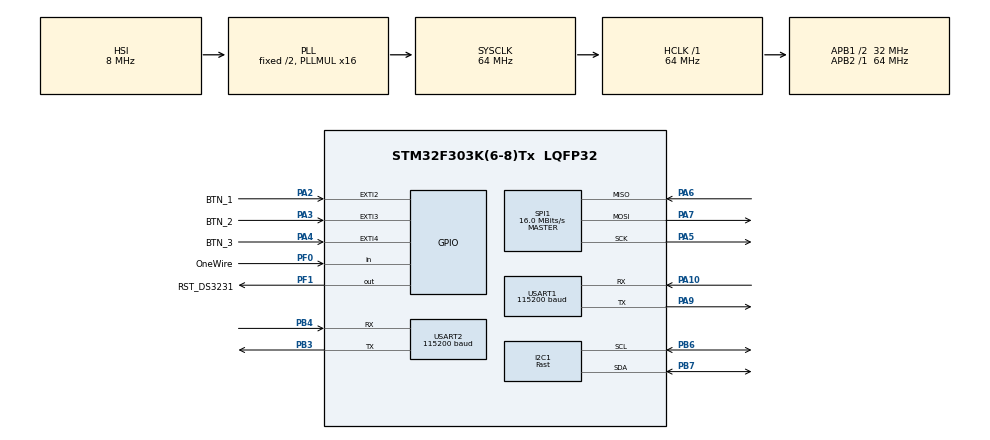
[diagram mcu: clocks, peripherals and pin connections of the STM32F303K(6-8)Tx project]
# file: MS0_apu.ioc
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I2C1.I2C_Speed_Mode=I2C_Fast
I2C1.Timing=0x0000020B
Mcu.Family=STM32F3
Mcu.Name=STM32F303K(6-8)Tx
Mcu.Package=LQFP32
NVIC.EXTI2_TSC_IRQn=true\:0\:0\:false\:false\:true\:true\:true
NVIC.EXTI3_IRQn=true\:0\:0\:false\:false\:true\:true\:true
NVIC.EXTI4_IRQn=true\:0\:0\:false\:false\:true\:true\:true
NVIC.PriorityGroup=NVIC_PRIORITYGROUP_4
NVIC.USART1_IRQn=true\:0\:0\:false\:false\:true\:true\:true
NVIC.USART2_IRQn=true\:0\:0\:false\:false\:true\:true\:true
PA10.Mode=Asynchronous
PA10.Signal=USART1_RX
PA13.GPIO_Label=SWDIO
PA13.Mode=Serial_Wire
PA13.Signal=SYS_JTMS-SWDIO
PA14.GPIO_Label=SWCLK
PA14.Mode=Serial_Wire
PA14.Signal=SYS_JTCK-SWCLK
PA2.GPIO_Label=BTN_1
PA2.GPIO_ModeDefaultEXTI=GPIO_MODE_IT_FALLING
PA2.GPIO_PuPd=GPIO_PULLDOWN
PA2.Signal=GPXTI2
PA3.GPIO_Label=BTN_2
PA3.GPIO_ModeDefaultEXTI=GPIO_MODE_IT_FALLING
PA3.GPIO_PuPd=GPIO_PULLDOWN
PA3.Signal=GPXTI3
PA4.GPIO_Label=BTN_3
PA4.GPIO_ModeDefaultEXTI=GPIO_MODE_IT_FALLING
PA4.GPIO_PuPd=GPIO_PULLDOWN
PA4.Signal=GPXTI4
PA5.Mode=Full_Duplex_Master
PA5.Signal=SPI1_SCK
PA6.Mode=Full_Duplex_Master
PA6.Signal=SPI1_MISO
PA7.Mode=Full_Duplex_Master
PA7.Signal=SPI1_MOSI
PA9.Mode=Asynchronous
PA9.Signal=USART1_TX
PB3.Mode=Asynchronous
PB3.Signal=USART2_TX
PB4.Mode=Asynchronous
PB4.Signal=USART2_RX
PB6.Mode=I2C
PB6.Signal=I2C1_SCL
PB7.Mode=I2C
PB7.Signal=I2C1_SDA
PF0\ /\ OSC_IN.GPIO_Label=OneWire
PF0\ /\ OSC_IN.Signal=GPIO_Input
PF1\ /\ OSC_OUT.GPIO_Label=RST_DS3231
PF1\ /\ OSC_OUT.PinState=GPIO_PIN_SET
PF1\ /\ OSC_OUT.Signal=GPIO_Output
ProjectManager.HeapSize=0x200
ProjectManager.StackSize=0x400
ProjectManager.TargetToolchain=STM32CubeIDE
RCC.AHBFreq_Value=64000000
RCC.APB1CLKDivider=RCC_HCLK_DIV2
RCC.APB1Freq_Value=32000000
RCC.APB1TimFreq_Value=64000000
RCC.APB2Freq_Value=64000000
RCC.APB2TimFreq_Value=64000000
RCC.CortexFreq_Value=64000000
RCC.HCLKFreq_Value=64000000
RCC.HSE_VALUE=8000000
RCC.HSI_VALUE=8000000
RCC.PLLMUL=RCC_PLL_MUL16
RCC.SYSCLKFreq_VALUE=64000000
RCC.SYSCLKSourceVirtual=RCC_SYSCLKSOURCE_PLLCLK
SPI1.BaudRatePrescaler=SPI_BAUDRATEPRESCALER_4
SPI1.CalculateBaudRate=16.0 MBits/s
SPI1.DataSize=SPI_DATASIZE_8BIT
SPI1.Direction=SPI_DIRECTION_2LINES
SPI1.Mode=SPI_MODE_MASTER
SPI1.VirtualType=VM_MASTER
TIM3.Period=65535-1
TIM3.Prescaler=64-1
USART1.BaudRate=115200
USART1.VirtualMode-Asynchronous=VM_ASYNC
USART2.BaudRate=115200
USART2.Mode=MODE_TX_RX
USART2.VirtualMode-Asynchronous=VM_ASYNC
VP_FATFS_VS_Generic.Mode=User_defined
VP_TIM3_VS_ClockSourceINT.Mode=Internal
board=NUCLEO-F303K8

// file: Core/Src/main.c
/* USER CODE BEGIN Header */
/** ************************************************************* *
 * @file        main.c
 * @brief
 *
 * @date        2021-04-26
 * @author     Quentin Bakrim (quentin.bakrim@hotmail.fr)
 *
 * Mines Space
 *
 * ************************************************************* **/
/* USER CODE END Header */
#include "main.h"
#include "fatfs.h"
#include "i2c.h"
#include "spi.h"
#include "tim.h"
#include "usart.h"
#include "gpio.h"

/* USER CODE BEGIN Includes */
#include "ds3231.h"
#include "mpu6050.h"
#include "bmp280.h"
#include "ssd1306.h"
#include "tca6408a.h"

#include "hmi.h"

#include "ds18b20.h"
#include "delay.h"

#include "synchro.h"

#include "broadcast.h"

#include "fatfs_sd.h"

#include "stdio.h"
/* USER CODE END Includes */

/* USER CODE BEGIN PV */
HMI_FrameSelector_t Frame;

DS3231_t TIME;
BMP280_t PRESS;
MPU6050_t ANGLE;
DS18B20_t TEMP;

FATFS FatFs; 	    //Fatfs handle
FIL fil; 		    //File handle
FRESULT fres;       //Result after operations

uint8_t msg_seq = 0;
uint8_t pData[10];

/* USER CODE END PV */

void SystemClock_Config(void);
/* USER CODE BEGIN PFP */
void routine_no_frame(void);
void routine_menu_frame(void);
void routine_data_log_frame(void);
void routine_status_frame(void);

void routine_DS3231(void);
void routine_BMP280(void);
void routine_MPU6050(void);
void routine_DS18B20(void);

uint8_t SDCARD_Init(void);
void SDCARD_write(void);

void BUFFER_fill(uint8_t* buff);
/* USER CODE END PFP */

int main(void)
{

  /* MCU Configuration--------------------------------------------------------*/

  /* Reset of all peripherals, Initializes the Flash interface and the Systick. */
  HAL_Init();

  /* Configure the system clock */
  SystemClock_Config();

  /* Initialize all configured peripherals */
  MX_GPIO_Init();
  MX_I2C1_Init();
  MX_TIM3_Init();
  MX_USART2_UART_Init();
  MX_USART1_UART_Init();
  MX_FATFS_Init();
  MX_SPI1_Init();
  /* USER CODE BEGIN 2 */

	synchro_init();

	HW_status_t HW_init =
	{
    .DS3231 	= DS3231_Init(),
    .MPU6050 	= MPU6050_Init(),
    .BMP280 	= BMP280_Init(),
    .SSD1306 	= SSD1306_Init(),
    .DS18B20	= DS18B20_Init(),
    .TCA6408A	= TCA6408A_Init(),
    .SDCARD     = SDCARD_Init()
	};

    /* restart the software if IMU is KO */
    if(HW_init.MPU6050 == HAL_ERROR) SCB->AIRCR = 0x05fa0004;

	/* init the msg_log */
	MSG_LOG_init();

	/* init the OLED */
	HMI_OLED_init();
	/* display MS0 logo a start */

	/* display the HW init log */
	HMI_OLED_display_init_log(HW_init, 2000, ClearAfter);

	/* display a static message for */
	HMI_OLED_display_running();

    /* load the IT on uart */
	HAL_UART_Receive_IT(&huart2, pData, 1);

  /* USER CODE END 2 */

  /* Infinite loop */
  /* USER CODE BEGIN WHILE */
  while (1)
  {
	synchro_update();

	/* check if the user open the menu */
	HMI_OLED_check_menu();

	switch (Frame)
	{
	case NO_FRAME		: routine_no_frame(); 		break;
	case MENU_FRAME		: routine_menu_frame(); 	break;
	case DATA_LOG_FRAME	: routine_data_log_frame(); break;
	case STATUS_FRAME	: routine_status_frame(); 	break;
	default: break;
	}

	/* write data on sdcard */
	if(HW_init.SDCARD == HAL_OK)
	{
        SDCARD_write();
	}

    /* send over uart */
	uint8_t buff[47] = {0};
    BUFFER_fill(buff);
	HAL_UART_Transmit(&huart1, (uint8_t*)buff, 47, TIMEOUT_UART);

	/* wait for scheduler synchro */
	synchro_wait();

    /* USER CODE END WHILE */

  }
}

void SystemClock_Config(void)
{
  RCC_OscInitTypeDef RCC_OscInitStruct = {0};
  RCC_ClkInitTypeDef RCC_ClkInitStruct = {0};
  RCC_PeriphCLKInitTypeDef PeriphClkInit = {0};

  /** Initializes the RCC Oscillators according to the specified parameters
  * in the RCC_OscInitTypeDef structure.
  */
  RCC_OscInitStruct.OscillatorType = RCC_OSCILLATORTYPE_HSI;
  RCC_OscInitStruct.HSIState = RCC_HSI_ON;
  RCC_OscInitStruct.HSICalibrationValue = RCC_HSICALIBRATION_DEFAULT;
  RCC_OscInitStruct.PLL.PLLState = RCC_PLL_ON;
  RCC_OscInitStruct.PLL.PLLSource = RCC_PLLSOURCE_HSI;
  RCC_OscInitStruct.PLL.PLLMUL = RCC_PLL_MUL16;
  if (HAL_RCC_OscConfig(&RCC_OscInitStruct) != HAL_OK)
  {
    Error_Handler();
  }
  /** Initializes the CPU, AHB and APB buses clocks
  */
  RCC_ClkInitStruct.ClockType = RCC_CLOCKTYPE_HCLK|RCC_CLOCKTYPE_SYSCLK
                              |RCC_CLOCKTYPE_PCLK1|RCC_CLOCKTYPE_PCLK2;
  RCC_ClkInitStruct.SYSCLKSource = RCC_SYSCLKSOURCE_PLLCLK;
  RCC_ClkInitStruct.AHBCLKDivider = RCC_SYSCLK_DIV1;
  RCC_ClkInitStruct.APB1CLKDivider = RCC_HCLK_DIV2;
  RCC_ClkInitStruct.APB2CLKDivider = RCC_HCLK_DIV1;

  if (HAL_RCC_ClockConfig(&RCC_ClkInitStruct, FLASH_LATENCY_2) != HAL_OK)
  {
    Error_Handler();
  }
  PeriphClkInit.PeriphClockSelection = RCC_PERIPHCLK_USART1|RCC_PERIPHCLK_I2C1;
  PeriphClkInit.Usart1ClockSelection = RCC_USART1CLKSOURCE_PCLK1;
  PeriphClkInit.I2c1ClockSelection = RCC_I2C1CLKSOURCE_HSI;
  if (HAL_RCCEx_PeriphCLKConfig(&PeriphClkInit) != HAL_OK)
  {
    Error_Handler();
  }
}

/* USER CODE BEGIN 4 */

/** ************************************************************* *
 * @brief
 *
 * @param       GPIO_Pin
 * ************************************************************* **/
void HAL_GPIO_EXTI_Callback(uint16_t GPIO_Pin)
{
	if(GPIO_Pin == GPIO_PIN_2) HMI_OLED_IT_btn_up();
	if(GPIO_Pin == GPIO_PIN_3) HMI_OLED_IT_btn_middle();
	if(GPIO_Pin == GPIO_PIN_4) HMI_OLED_IT_btn_bottom();
}

/** ************************************************************* *
 * @brief
 *
 * @param       huart
 * ************************************************************* **/
void HAL_UART_RxCpltCallback(UART_HandleTypeDef *huart)
{
  //  if(huart->Instance == USART2) trig = 1;//broadcast_uart_receive();HAL_UART_Receive_IT(&huart2, pData, 1);
	if(huart->Instance == USART2)
	{
		MSG_LOG_dispatch(*pData);
		HAL_UART_Receive_IT(&huart2, pData, 1);
	}
}

/** ************************************************************* *
 * @brief
 *
 * ************************************************************* **/
void routine_no_frame(void)
{
	routine_DS3231();
	routine_BMP280();
	routine_MPU6050();
	routine_DS18B20();
}

/** ************************************************************* *
 * @brief
 *
 * ************************************************************* **/
void routine_menu_frame(void)
{
	routine_DS3231();
	routine_BMP280();
	routine_MPU6050();
	routine_DS18B20();

	HMI_OLED_display_menu_selector();
	SSD1306_UpdateScreen();
}

/** ************************************************************* *
 * @brief
 *
 * ************************************************************* **/
void routine_data_log_frame(void)
{
	routine_DS3231();
	routine_BMP280();
	routine_MPU6050();
	routine_DS18B20();

	if(HW_status.DS3231 == HAL_OK)
	{
		HMI_OLED_display_data_log_time(TIME);
	}
	else
	{
		HMI_OLED_display_data_log_failed(HMI_OLED_DATA_LINE_TIME);
	}

	if(HW_status.BMP280 == HAL_OK)
	{
		HMI_OLED_display_data_log_press(PRESS);
	}
	else
	{
		HMI_OLED_display_data_log_failed(HMI_OLED_DATA_LINE_PRESS);
	}

	if(HW_status.MPU6050 == HAL_OK)
	{
		HMI_OLED_display_data_log_angle(ANGLE);
	}
	else
	{
		HMI_OLED_display_data_log_failed(HMI_OLED_DATA_LINE_ANGLEX);
	}

	if(HW_status.DS18B20 == HAL_OK)
	{
		HMI_OLED_display_data_log_temp(TEMP);
	}
	else
	{
		HMI_OLED_display_data_log_failed(HMI_OLED_LINE_5);
	}

	SSD1306_UpdateScreen();
}

/** ************************************************************* *
 * @brief
 *
 * ************************************************************* **/
void routine_status_frame(void)
{
	routine_DS3231();
	routine_BMP280();
	routine_MPU6050();
	routine_DS18B20();

	HMI_OLED_display_status_phase();
	HMI_OLED_display_status_jack();

	SSD1306_UpdateScreen();
}

/** ************************************************************* *
 * @brief
 *
 * ************************************************************* **/
void routine_DS3231(void)
{
	if(DS3231_Read_All() == HAL_OK)
	{
		HW_status.DS3231 = HAL_OK;
	 	TIME = DS3231_Get_Struct();
	}
	else
	{
		HW_status.DS3231 = HAL_ERROR;
	}
}

/** ************************************************************* *
 * @brief
 *
 * ************************************************************* **/
void routine_BMP280(void)
{
	if(BMP280_Read_All() == HAL_OK)
	{
		if(HW_status.BMP280 == HAL_ERROR) BMP280_Init();
		HW_status.BMP280 = HAL_OK;
		PRESS = BMP280_Get_Struct();
	}
	else
	{
		HW_status.BMP280 = HAL_ERROR;
	}
}

/** ************************************************************* *
 * @brief
 *
 * ************************************************************* **/
void routine_MPU6050(void)
{
	if(MPU6050_Read_All_Kalman() == HAL_OK)
	{
		if(HW_status.MPU6050 == HAL_ERROR) MPU6050_Init();
		HW_status.MPU6050 = HAL_OK;
		ANGLE = MPU6050_Get_Struct();
	}
	else
	{
		HW_status.MPU6050 = HAL_ERROR;
	}
}

/** ************************************************************* *
 * @brief
 *
 * ************************************************************* **/
void routine_DS18B20(void)
{
	DS18B20_Get_Temp();
	TEMP = DS18B20_Get_Struct();
}

/** ************************************************************* *
 * @brief
 *
 * @return      true
 * @return      false
 * ************************************************************* **/
uint8_t SDCARD_Init(void)
{

    fres = f_mount(NULL, "", 0);
    fres = f_mount(&FatFs, "", 1); //1=mount now
    fres = f_open(&fil, "datalog.txt", FA_WRITE | FA_OPEN_ALWAYS);

    if(fres != FR_OK)
    {
    	  return HAL_ERROR;
    }
    else
    {
    	  return HAL_OK;
    }
}

void SDCARD_write(void)
{
    f_printf(&fil, "%d;%d;%d;", TIME.Hour, TIME.Min, TIME.Sec);
    char buffer[10];
    snprintf(buffer, 10, "%f", PRESS.temperature);
    f_printf(&fil, "%s;", buffer);
    snprintf(buffer, 10, "%f", PRESS.pressure);
    f_printf(&fil, "%s;", buffer);
    snprintf(buffer, 10, "%f", ANGLE.Ax);
    f_printf(&fil, "%s;", buffer);
    snprintf(buffer, 10, "%f", ANGLE.Ay);
    f_printf(&fil, "%s;", buffer);
    snprintf(buffer, 10, "%f", ANGLE.Az);
    f_printf(&fil, "%s;", buffer);
    snprintf(buffer, 10, "%f", ANGLE.Gx);
    f_printf(&fil, "%s;", buffer);
    snprintf(buffer, 10, "%f", ANGLE.Gy);
    f_printf(&fil, "%s;", buffer);
    snprintf(buffer, 10, "%f", ANGLE.Gz);
    f_printf(&fil, "%s;", buffer);
    snprintf(buffer, 10, "%f", ANGLE.Temperature);
    f_printf(&fil, "%s\n", buffer);

    f_sync(&fil);
}

void BUFFER_fill(uint8_t* buff)
{
	uint8_t index = 0;

    // BMP280
    memcpy(buff + index, &PRESS.temperature, sizeof(PRESS.temperature));
    index += sizeof(PRESS.temperature);
    memcpy(buff + index, &PRESS.pressure, sizeof(PRESS.pressure));
    index += sizeof(PRESS.pressure);
    memcpy(buff + index, &HW_status.BMP280, sizeof(HW_status.BMP280));
    index += sizeof(HW_status.BMP280);

    // DS18B20
    memcpy(buff + index, &TEMP.temperature, sizeof(TEMP.temperature));
    index += sizeof(TEMP.temperature);
    memcpy(buff + index, &HW_status.DS18B20, sizeof(HW_status.DS18B20));
    index += sizeof(HW_status.DS18B20);

    // DS3231
    memcpy(buff + index, &TIME.Hour, sizeof(TIME.Hour));
    index += sizeof(TIME.Hour);
    memcpy(buff + index, &TIME.Min, sizeof(TIME.Min));
    index += sizeof(TIME.Min);
    memcpy(buff + index, &TIME.Sec, sizeof(TIME.Sec));
    index += sizeof(TIME.Sec);
    memcpy(buff + index, &HW_status.DS3231, sizeof(HW_status.DS3231));
    index += sizeof(HW_status.DS3231);

    // MPU6050
    memcpy(buff + index, &ANGLE.Gx, sizeof(ANGLE.Gx));
    index += sizeof(ANGLE.Gx);
    memcpy(buff + index, &ANGLE.Gy, sizeof(ANGLE.Gy));
    index += sizeof(ANGLE.Gy);
    memcpy(buff + index, &ANGLE.Gz, sizeof(ANGLE.Gz));
    index += sizeof(ANGLE.Gz);
    memcpy(buff + index, &ANGLE.Ax, sizeof(ANGLE.Ax));
    index += sizeof(ANGLE.Ax);
    memcpy(buff + index, &ANGLE.Ay, sizeof(ANGLE.Ay));
    index += sizeof(ANGLE.Ay);
    memcpy(buff + index, &ANGLE.Az, sizeof(ANGLE.Az));
    index += sizeof(ANGLE.Az);
    memcpy(buff + index, &HW_status.MPU6050, sizeof(HW_status.MPU6050));
    index += sizeof(HW_status.MPU6050);

    // message seq
    memcpy(buff + index, &MSG_SEQ_PHASE, sizeof(MSG_SEQ_PHASE));
    index += sizeof(MSG_SEQ_PHASE);
    memcpy(buff + index, &MSG_SEQ_MOTOR, sizeof(MSG_SEQ_MOTOR));
    index += sizeof(MSG_SEQ_MOTOR);
}

/* USER CODE END 4 */

void Error_Handler(void)
{
}

/************************ (C) COPYRIGHT STMicroelectronics *****END OF FILE****/
